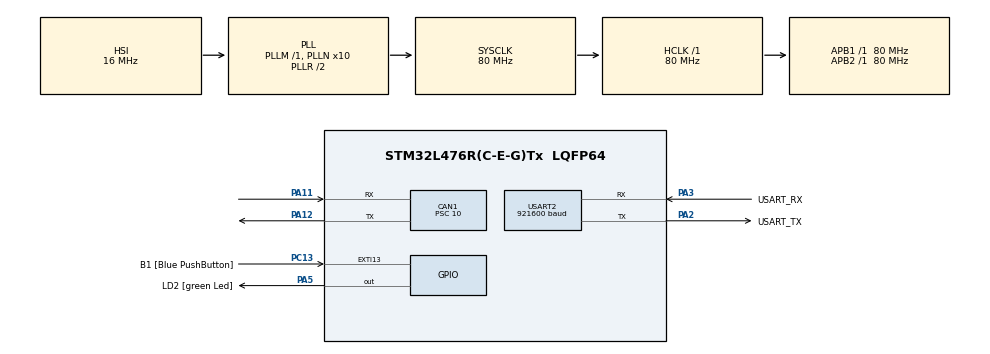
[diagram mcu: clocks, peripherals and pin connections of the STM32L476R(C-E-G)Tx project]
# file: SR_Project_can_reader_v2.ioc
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CAN1.ABOM=ENABLE
CAN1.BS1=CAN_BS1_13TQ
CAN1.BS2=CAN_BS2_2TQ
CAN1.CalculateBaudRate=500000
CAN1.CalculateTimeBit=2000
CAN1.CalculateTimeQuantum=125.0
CAN1.Mode=CAN_MODE_SILENT
CAN1.Prescaler=10
Mcu.Family=STM32L4
Mcu.Name=STM32L476R(C-E-G)Tx
Mcu.Package=LQFP64
NVIC.CAN1_RX0_IRQn=true\:0\:0\:false\:false\:true\:true\:true\:true
NVIC.PriorityGroup=NVIC_PRIORITYGROUP_4
PA11.Mode=CAN_Activate
PA11.Signal=CAN1_RX
PA12.Mode=CAN_Activate
PA12.Signal=CAN1_TX
PA13\ (JTMS-SWDIO).GPIO_Label=TMS
PA13\ (JTMS-SWDIO).Mode=Serial_Wire
PA13\ (JTMS-SWDIO).Signal=SYS_JTMS-SWDIO
PA14\ (JTCK-SWCLK).GPIO_Label=TCK
PA14\ (JTCK-SWCLK).Mode=Serial_Wire
PA14\ (JTCK-SWCLK).Signal=SYS_JTCK-SWCLK
PA2.GPIO_Label=USART_TX
PA2.GPIO_Mode=GPIO_MODE_AF_PP
PA2.GPIO_PuPd=GPIO_NOPULL
PA2.GPIO_Speed=GPIO_SPEED_FREQ_VERY_HIGH
PA2.Mode=Asynchronous
PA2.Signal=USART2_TX
PA3.GPIO_Label=USART_RX
PA3.GPIO_Mode=GPIO_MODE_AF_PP
PA3.GPIO_PuPd=GPIO_NOPULL
PA3.GPIO_Speed=GPIO_SPEED_FREQ_VERY_HIGH
PA3.Mode=Asynchronous
PA3.Signal=USART2_RX
PA5.GPIO_Label=LD2 [green Led]
PA5.GPIO_ModeDefaultOutputPP=GPIO_MODE_OUTPUT_PP
PA5.GPIO_PuPd=GPIO_NOPULL
PA5.GPIO_Speed=GPIO_SPEED_FREQ_LOW
PA5.Signal=GPIO_Output
PB3\ (JTDO-TRACESWO).GPIO_Label=SWO
PB3\ (JTDO-TRACESWO).Signal=SYS_JTDO-SWO
PC13.GPIO_Label=B1 [Blue PushButton]
PC13.GPIO_ModeDefaultEXTI=GPIO_MODE_IT_FALLING
PC13.GPIO_PuPd=GPIO_NOPULL
PC13.Signal=GPXTI13
PC14-OSC32_IN\ (PC14).Mode=LSE-External-Oscillator
PC14-OSC32_IN\ (PC14).Signal=RCC_OSC32_IN
PC15-OSC32_OUT\ (PC15).Mode=LSE-External-Oscillator
PC15-OSC32_OUT\ (PC15).Signal=RCC_OSC32_OUT
PH0-OSC_IN\ (PH0).Signal=RCC_OSC_IN
PH1-OSC_OUT\ (PH1).Signal=RCC_OSC_OUT
ProjectManager.HeapSize=0x200
ProjectManager.StackSize=0x400
ProjectManager.TargetToolchain=STM32CubeIDE
RCC.ADCFreq_Value=64000000
RCC.AHBFreq_Value=80000000
RCC.APB1Freq_Value=80000000
RCC.APB1TimFreq_Value=80000000
RCC.APB2Freq_Value=80000000
RCC.APB2TimFreq_Value=80000000
RCC.CortexFreq_Value=80000000
RCC.HCLKFreq_Value=80000000
RCC.HSE_VALUE=8000000
RCC.HSI_VALUE=16000000
RCC.MSI_VALUE=4000000
RCC.PLLN=10
RCC.PLLSourceVirtual=RCC_PLLSOURCE_HSI
RCC.PREFETCH_ENABLE=1
RCC.SYSCLKFreq_VALUE=80000000
RCC.SYSCLKSource=RCC_SYSCLKSOURCE_PLLCLK
RCC.USBFreq_Value=64000000
RCC.VCOOutputFreq_Value=160000000
USART2.BaudRate=921600
USART2.VirtualMode-Asynchronous=VM_ASYNC
board=NUCLEO-L476RG

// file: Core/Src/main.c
/* USER CODE BEGIN Header */
/**
  ******************************************************************************
  * @file           : main.c
  * @brief          : Main program body
  ******************************************************************************
  * @attention
  *
  * Copyright (c) 2026 STMicroelectronics.
  * All rights reserved.
  *
  * This software is licensed under terms that can be found in the LICENSE file
  * in the root directory of this software component.
  * If no LICENSE file comes with this software, it is provided AS-IS.
  *
  ******************************************************************************
  */
/* USER CODE END Header */
#include "main.h"

/* USER CODE BEGIN Includes */
#include <stdio.h>
// #include <string.h>
/* USER CODE END Includes */

CAN_HandleTypeDef hcan1;

UART_HandleTypeDef huart2;

void SystemClock_Config(void);
static void MX_GPIO_Init(void);
static void MX_USART2_UART_Init(void);
static void MX_CAN1_Init(void);

/* USER CODE BEGIN 0 */

int _write(int file, char *ptr, int len)
{
    HAL_UART_Transmit(&huart2, (uint8_t *)ptr, len, 50);
    return len;
}

/* USER CODE END 0 */

int main(void)
{

  /* MCU Configuration--------------------------------------------------------*/

  /* Reset of all peripherals, Initializes the Flash interface and the Systick. */
  HAL_Init();

  /* Configure the system clock */
  SystemClock_Config();

  /* Initialize all configured peripherals */
  MX_GPIO_Init();
  MX_USART2_UART_Init();
  MX_CAN1_Init();
  /* USER CODE BEGIN 2 */
  setvbuf(stdout, NULL, _IONBF, 0);

  CAN_FilterTypeDef filter = {0};                  /* all zeros = accept every ID */
  filter.FilterMode           = CAN_FILTERMODE_IDMASK;
  filter.FilterScale          = CAN_FILTERSCALE_32BIT;
  filter.FilterFIFOAssignment = CAN_RX_FIFO0;
  filter.FilterActivation     = ENABLE;
  HAL_CAN_ConfigFilter(&hcan1, &filter);
  HAL_CAN_Start(&hcan1);

  CAN_RxHeaderTypeDef rx;
  uint8_t data[8];

  printf("boot, SYSCLK=%lu Hz\r\n", HAL_RCC_GetSysClockFreq());
  /* USER CODE END 2 */

  /* Infinite loop */
  while (1)
  {

    /* USER CODE BEGIN 3 */

	  static uint32_t t0, cnt;
	  if (HAL_CAN_GetRxFifoFillLevel(&hcan1, CAN_RX_FIFO0) > 0)
	  {
	      HAL_CAN_GetRxMessage(&hcan1, CAN_RX_FIFO0, &rx, data);
	      cnt++;
	      printf("%lu %03lX#", HAL_GetTick(),
	             (rx.IDE == CAN_ID_STD) ? rx.StdId : rx.ExtId);
	      for (uint32_t i = 0; i < rx.DLC; i++)
	          printf("%02X", data[i]);
	      printf("\r\n");
	  }
	  if (HAL_GetTick() - t0 >= 1000)
	  {
	      t0 = HAL_GetTick();
	      uint32_t esr = hcan1.Instance->ESR;
	      printf("# frames=%lu REC=%lu TEC=%lu LEC=%lu BOFF=%lu\r\n", cnt,
	             (esr >> 24) & 0xFF, (esr >> 16) & 0xFF, (esr >> 4) & 7, (esr >> 2) & 1);
	  }

  }
  /* USER CODE END 3 */
}

void SystemClock_Config(void)
{
  RCC_OscInitTypeDef RCC_OscInitStruct = {0};
  RCC_ClkInitTypeDef RCC_ClkInitStruct = {0};

  /** Configure the main internal regulator output voltage
  */
  if (HAL_PWREx_ControlVoltageScaling(PWR_REGULATOR_VOLTAGE_SCALE1) != HAL_OK)
  {
    Error_Handler();
  }

  /** Initializes the RCC Oscillators according to the specified parameters
  * in the RCC_OscInitTypeDef structure.
  */
  RCC_OscInitStruct.OscillatorType = RCC_OSCILLATORTYPE_HSI;
  RCC_OscInitStruct.HSIState = RCC_HSI_ON;
  RCC_OscInitStruct.HSICalibrationValue = RCC_HSICALIBRATION_DEFAULT;
  RCC_OscInitStruct.PLL.PLLState = RCC_PLL_ON;
  RCC_OscInitStruct.PLL.PLLSource = RCC_PLLSOURCE_HSI;
  RCC_OscInitStruct.PLL.PLLM = 1;
  RCC_OscInitStruct.PLL.PLLN = 10;
  RCC_OscInitStruct.PLL.PLLP = RCC_PLLP_DIV7;
  RCC_OscInitStruct.PLL.PLLQ = RCC_PLLQ_DIV2;
  RCC_OscInitStruct.PLL.PLLR = RCC_PLLR_DIV2;
  if (HAL_RCC_OscConfig(&RCC_OscInitStruct) != HAL_OK)
  {
    Error_Handler();
  }

  /** Initializes the CPU, AHB and APB buses clocks
  */
  RCC_ClkInitStruct.ClockType = RCC_CLOCKTYPE_HCLK|RCC_CLOCKTYPE_SYSCLK
                              |RCC_CLOCKTYPE_PCLK1|RCC_CLOCKTYPE_PCLK2;
  RCC_ClkInitStruct.SYSCLKSource = RCC_SYSCLKSOURCE_PLLCLK;
  RCC_ClkInitStruct.AHBCLKDivider = RCC_SYSCLK_DIV1;
  RCC_ClkInitStruct.APB1CLKDivider = RCC_HCLK_DIV1;
  RCC_ClkInitStruct.APB2CLKDivider = RCC_HCLK_DIV1;

  if (HAL_RCC_ClockConfig(&RCC_ClkInitStruct, FLASH_LATENCY_4) != HAL_OK)
  {
    Error_Handler();
  }
}

static void MX_CAN1_Init(void)
{

  hcan1.Instance = CAN1;
  hcan1.Init.Prescaler = 10;
  hcan1.Init.Mode = CAN_MODE_SILENT;
  hcan1.Init.SyncJumpWidth = CAN_SJW_1TQ;
  hcan1.Init.TimeSeg1 = CAN_BS1_13TQ;
  hcan1.Init.TimeSeg2 = CAN_BS2_2TQ;
  hcan1.Init.TimeTriggeredMode = DISABLE;
  hcan1.Init.AutoBusOff = ENABLE;
  hcan1.Init.AutoWakeUp = DISABLE;
  hcan1.Init.AutoRetransmission = DISABLE;
  hcan1.Init.ReceiveFifoLocked = DISABLE;
  hcan1.Init.TransmitFifoPriority = DISABLE;
  if (HAL_CAN_Init(&hcan1) != HAL_OK)
  {
    Error_Handler();
  }

}

static void MX_USART2_UART_Init(void)
{

  huart2.Instance = USART2;
  huart2.Init.BaudRate = 921600;
  huart2.Init.WordLength = UART_WORDLENGTH_8B;
  huart2.Init.StopBits = UART_STOPBITS_1;
  huart2.Init.Parity = UART_PARITY_NONE;
  huart2.Init.Mode = UART_MODE_TX_RX;
  huart2.Init.HwFlowCtl = UART_HWCONTROL_NONE;
  huart2.Init.OverSampling = UART_OVERSAMPLING_16;
  huart2.Init.OneBitSampling = UART_ONE_BIT_SAMPLE_DISABLE;
  huart2.AdvancedInit.AdvFeatureInit = UART_ADVFEATURE_NO_INIT;
  if (HAL_UART_Init(&huart2) != HAL_OK)
  {
    Error_Handler();
  }

}

static void MX_GPIO_Init(void)
{
  GPIO_InitTypeDef GPIO_InitStruct = {0};

  /* GPIO Ports Clock Enable */
  __HAL_RCC_GPIOC_CLK_ENABLE();
  __HAL_RCC_GPIOH_CLK_ENABLE();
  __HAL_RCC_GPIOA_CLK_ENABLE();
  __HAL_RCC_GPIOB_CLK_ENABLE();

  /*Configure GPIO pin Output Level */
  HAL_GPIO_WritePin(LD2_GPIO_Port, LD2_Pin, GPIO_PIN_RESET);

  /*Configure GPIO pin : B1_Pin */
  GPIO_InitStruct.Pin = B1_Pin;
  GPIO_InitStruct.Mode = GPIO_MODE_IT_FALLING;
  GPIO_InitStruct.Pull = GPIO_NOPULL;
  HAL_GPIO_Init(B1_GPIO_Port, &GPIO_InitStruct);

  /*Configure GPIO pin : LD2_Pin */
  GPIO_InitStruct.Pin = LD2_Pin;
  GPIO_InitStruct.Mode = GPIO_MODE_OUTPUT_PP;
  GPIO_InitStruct.Pull = GPIO_NOPULL;
  GPIO_InitStruct.Speed = GPIO_SPEED_FREQ_LOW;
  HAL_GPIO_Init(LD2_GPIO_Port, &GPIO_InitStruct);

}

/* USER CODE BEGIN 4 */
/*
void processCANmessageRAW_(uint32_t id, uint32_t lenght, uint8_t* data){
	sprintf(msg, "CAN ID: 0x%03lX", id);
	HAL_UART_Transmit(&huart2, (uint8_t*)msg, strlen(msg), HAL_MAX_DELAY);

	for(int i = 0; i < lenght; i++){
		sprintf(msg, " %02X", data[i]);
		HAL_UART_Transmit(&huart2, (uint8_t*)msg, strlen(msg), HAL_MAX_DELAY);
	}

	sprintf(msg, "\r\n");
	HAL_UART_Transmit(&huart2, (uint8_t*)msg, strlen(msg), HAL_MAX_DELAY);
}

void HAL_CAN_RxFifo0MsgPendingCallback(CAN_HandleTypeDef *hcan) {
    HAL_CAN_GetRxMessage(hcan, CAN_RX_FIFO0, &RxHeader, RxData);
    processCANmessageRAW_(RxHeader.StdId, RxHeader.DLC, RxData);
}
*/

/* USER CODE END 4 */

void Error_Handler(void)
{
  __disable_irq();
  while (1)
  {
  }
}
